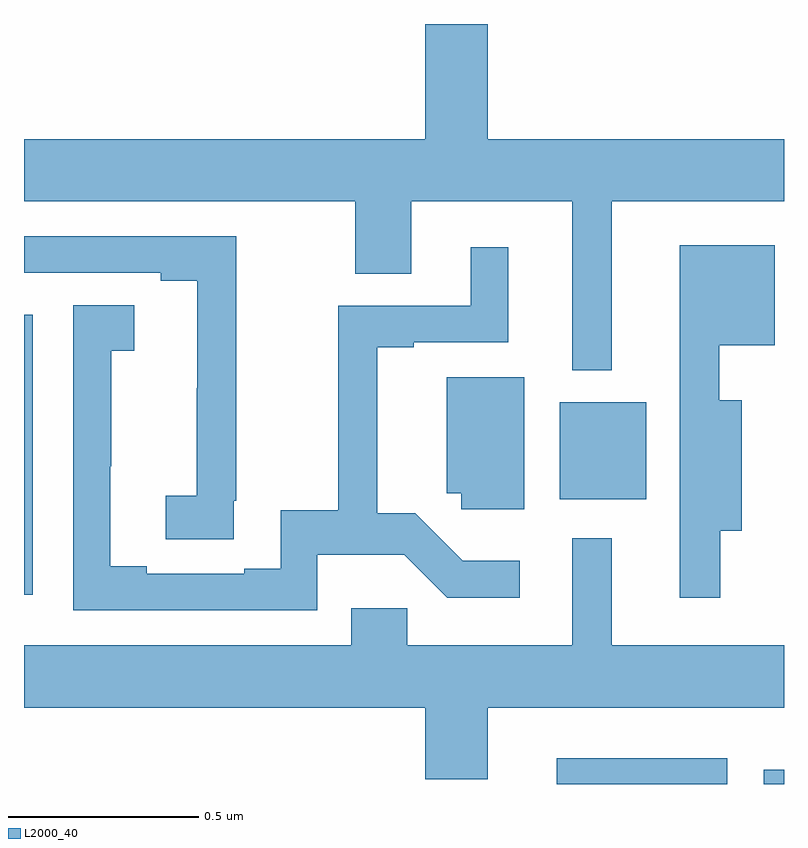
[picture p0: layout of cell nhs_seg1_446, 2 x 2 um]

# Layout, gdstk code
import gdstk
lib = gdstk.Library(unit=1e-6, precision=1e-09)
def R(c, l, rs):  # rectangles x0, y0, x1, y1
    for r in rs: c.add(gdstk.rectangle(r[:2], r[2:], *l))
def P(c, l, *ps):  # polygons
    for p in ps: c.add(gdstk.Polygon(p, *l))
L2000_40 = (2000, 40)

nhs_seg1_446 = lib.new_cell('nhs_seg1_446')
R(nhs_seg1_446, L2000_40, [(117.402,550.199,117.85,550.267), (117.947,550.199,118,550.237), (116,550.697,116.023,551.434), (117.41,550.949,117.637,551.203)])
P(nhs_seg1_446, L2000_40, [(117.547,551.732),(118,551.732),(118,551.896),(117.22,551.896),(117.22,552.199),(117.056,552.199),(117.056,551.896),(116,551.896),(116,551.732),(116.872,551.732),(116.872,551.542),(117.019,551.542),(117.019,551.732),(117.443,551.732),(117.443,551.288),(117.547,551.288)],
  [(116.552,550.945),(116.558,550.945),(116.558,551.64),(116,551.64),(116,551.544),(116.36,551.544),(116.36,551.524),(116.456,551.524),(116.456,551.241),(116.455,551.241),(116.455,550.958),(116.373,550.958),(116.373,550.843),(116.552,550.843)],
  [(117.832,550.865),(117.889,550.865),(117.889,551.209),(117.829,551.209),(117.829,551.354),(117.976,551.354),(117.976,551.617),(117.725,551.617),(117.725,550.689),(117.832,550.689)],
  [(116.772,550.802),(117.001,550.802),(117.114,550.689),(117.304,550.689),(117.304,550.786),(117.155,550.786),(117.029,550.912),(116.93,550.912),(116.93,551.349),(117.025,551.349),(117.025,551.361),(117.274,551.361),(117.274,551.611),(117.176,551.611),(117.176,551.457),(116.827,551.457),(116.827,550.919),(116.676,550.919),(116.676,550.766),(116.579,550.766),(116.579,550.752),(116.323,550.752),(116.323,550.772),(116.227,550.772),(116.227,551.035),(116.229,551.035),(116.229,551.339),(116.29,551.339),(116.29,551.459),(116.13,551.459),(116.13,550.656),(116.772,550.656)],
  [(117.316,551.269),(117.113,551.269),(117.113,550.964),(117.15,550.964),(117.15,550.922),(117.316,550.922)],
  [(117.22,550.4),(118,550.4),(118,550.564),(117.547,550.564),(117.547,550.846),(117.443,550.846),(117.443,550.564),(117.008,550.564),(117.008,550.662),(116.861,550.662),(116.861,550.564),(116,550.564),(116,550.4),(117.056,550.4),(117.056,550.212),(117.22,550.212)])

lib.write_gds('nhs_seg1_446.gds')
